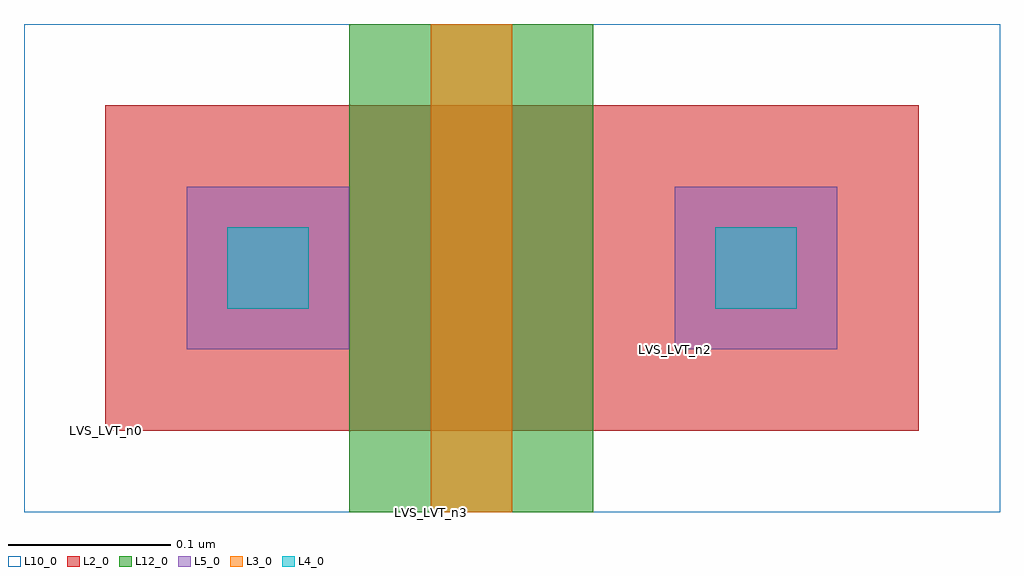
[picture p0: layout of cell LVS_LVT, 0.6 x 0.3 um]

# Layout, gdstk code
import gdstk
lib = gdstk.Library(unit=1e-6, precision=1e-09)
def R(c, l, rs):  # rectangles x0, y0, x1, y1
    for r in rs: c.add(gdstk.rectangle(r[:2], r[2:], *l))
L2_0 = (2, 0)
L3_0 = (3, 0)
L4_0 = (4, 0)
L5_0 = (5, 0)
L10_0 = (10, 0)
L12_0 = (12, 0)

lvs_lvt = lib.new_cell('LVS_LVT')
R(lvs_lvt, L2_0, [(0,0,0.5,0.2)])
R(lvs_lvt, L3_0, [(0.2,-0.05,0.25,0.25)])
R(lvs_lvt, L4_0, [(0.075,0.075,0.125,0.125), (0.375,0.075,0.425,0.125)])
R(lvs_lvt, L5_0, [(0.05,0.05,0.15,0.15), (0.35,0.05,0.45,0.15)])
R(lvs_lvt, L10_0, [(-0.05,-0.05,0.55,0.25)])
R(lvs_lvt, L12_0, [(0.15,-0.05,0.3,0.25)])
lvs_lvt.add(gdstk.Label('LVS_LVT_n0', (0,0), layer=2, texttype=5))
lvs_lvt.add(gdstk.Label('LVS_LVT_n2', (0.35,0.05), layer=5, texttype=5))
lvs_lvt.add(gdstk.Label('LVS_LVT_n3', (0.2,-0.05), layer=3, texttype=5))

lib.write_gds('LVS_LVT.gds')
